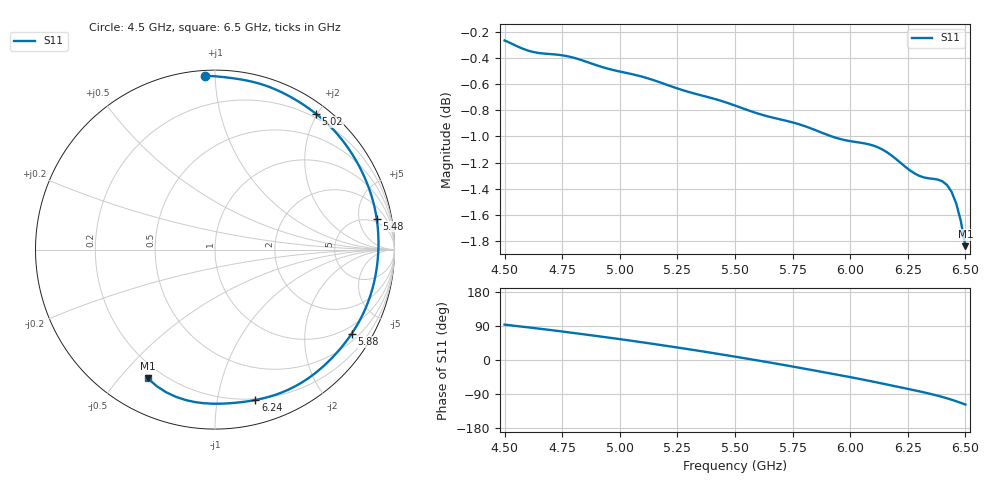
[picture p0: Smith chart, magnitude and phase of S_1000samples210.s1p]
! TOUCHSTONE file generated by CST MICROWAVE STUDIO
! Date and time: Thu Oct 27 09:35:23 2022
! Project name: L.cst
! Parameters = {Di=1.27; Epsilon_r=1.56; InnerDiameter=1.27; Length=2; Lf=10; Lg=60; OuterConductorThickness=0.2921; OuterDiameter=3.6; Wf=3; Wp=41.2; de=1.5; df=6.8; g=0.8; gx=4.70901; gy=3.31065; h=2.34; hf=1.524; px=8.56446; py=13.5864; w=9.7; wx=3.85545; wy=10.2758}
! Header version: 2018
! Port assignment regex: !\s*Touchstone port\s*([0-9]+)\s*=\s*(CST MWS port|CST DS port)\s*([0-9]+|Zmin|Zmax)\s*\(\"(.*)\"\)(\s*mode\s*([0-9]+))?.*
! Touchstone port assignment:
! Touchstone port 1 = CST MWS port 1 ("")
# GHz S DB R 50
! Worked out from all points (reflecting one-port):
!   101 points, 4.5 GHz to 6.5 GHz, reference 50 ohm
!   lowest |S11| = -1.8 dB at 6.5 GHz (marker M1), VSWR 9.48, Z = 7.19 - j29.9 ohm
!   phase of S11 starts at 93 deg and turns -211 deg over the sweep
!   S11 on the Smith chart (normalised r, x): 4.5 GHz: 0.03, +0.94; 5.02 GHz: 0.15, +1.98; 5.48 GHz: 4.02, +8.72; 5.88 GHz: 0.72, -3.39; 6.24 GHz: 0.19, -1.29; 6.5 GHz: 0.14, -0.60
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4.5  -0.27 93.4
4.64  -0.36 83.4
4.76  -0.38 74.4
4.88  -0.44 64.9
5  -0.50 55.1
5.02  -0.51 53.4
5.14  -0.57 42.9
5.26  -0.64 32.0
5.38  -0.70 20.7
5.48  -0.75 10.8
5.5  -0.76 8.8
5.56  -0.80 2.7
5.64  -0.85 -5.5
5.7  -0.87 -11.8
5.76  -0.90 -18.3
5.82  -0.93 -25.0
5.88  -0.97 -31.6
6  -1.04 -45.2
6.06  -1.05 -52.3
6.12  -1.08 -59.7
6.18  -1.15 -67.3
6.24  -1.23 -74.9
6.26  -1.26 -77.5
6.34  -1.32 -88.2
6.4  -1.34 -97.5
6.44  -1.42 -104.8
6.46  -1.51 -108.8
6.5  -1.84 -117.5
